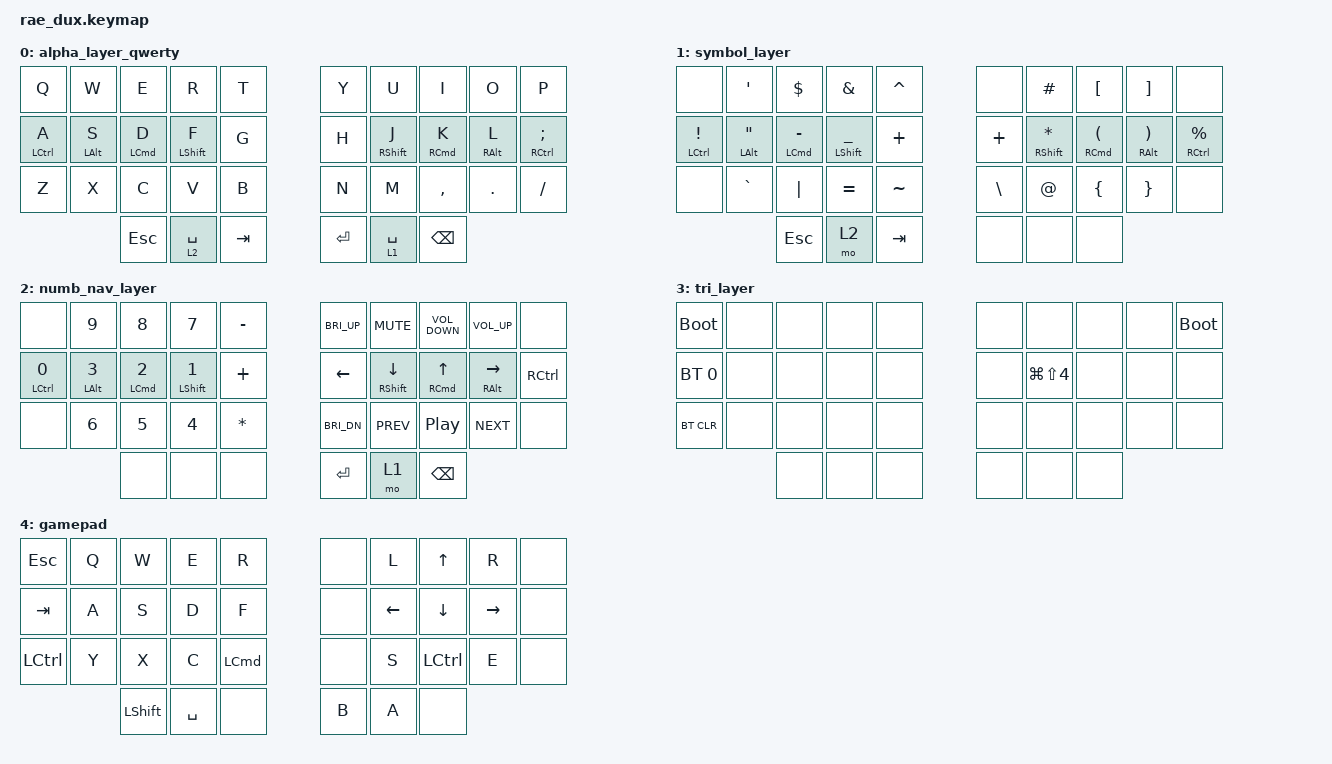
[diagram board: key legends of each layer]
/*
 * Copyright (c) 2021 The ZMK Contributors
 *
 * SPDX-License-Identifier: MIT
 */

#include <behaviors.dtsi>
#include <dt-bindings/zmk/bt.h>
#include <dt-bindings/zmk/keys.h>

&lt { flavor = "hold-preferred"; };

/ {
    conditional_layers {
        compatible = "zmk,conditional-layers";

        Tri {
            if-layers = <2 1>;
            then-layer = <3>;
        };
    };

    behaviors {
        hrm: home_row_mods {
            compatible = "zmk,behavior-hold-tap";
            label = "HOME_ROW_MODS";
            #binding-cells = <2>;
            flavor = "balanced";
            tapping-term-ms = <200>;
            bindings = <&kp>, <&kp>;
        };

        lt_repeat: lt_repeat {
            compatible = "zmk,behavior-hold-tap";
            label = "LT_REPEAT";
            bindings = <&mo>, <&key_repeat>;

            #binding-cells = <2>;
            flavor = "hold-preferred";
            tapping-term-ms = <200>;
        };
    };

    combos {
        compatible = "zmk,combos";

        Gamepad {
            bindings = <&tog 4>;
            key-positions = <8 28>;
        };
    };

    keymap {
        compatible = "zmk,keymap";

        alpha_layer_qwerty {
            bindings = <
&kp Q                &kp W            &kp E                &kp R              &kp T                              &kp Y        &kp U               &kp I                 &kp O             &kp P
&hrm LEFT_CONTROL A  &hrm LEFT_ALT S  &hrm LEFT_COMMAND D  &hrm LEFT_SHIFT F  &kp G                              &kp H        &hrm RIGHT_SHIFT J  &hrm RIGHT_COMMAND K  &hrm RIGHT_ALT L  &hrm RIGHT_CONTROL SEMICOLON
&kp Z                &kp X            &kp C                &kp V              &kp B                              &kp N        &kp M               &kp COMMA             &kp DOT           &kp SLASH
                                                           &kp ESC            &lt 2 SPACE  &kp TAB    &kp ENTER  &lt 1 SPACE  &kp BSPC
            >;
        };

        Symbol {
            bindings = <
&none                          &kp SINGLE_QUOTE             &kp DOLLAR               &kp AMPERSAND               &kp CARET                    &none          &kp POUND               &kp LEFT_BRACKET                     &kp RIGHT_BRACKET                 &none
&hrm LEFT_CONTROL EXCLAMATION  &hrm LEFT_ALT DOUBLE_QUOTES  &hrm LEFT_COMMAND MINUS  &hrm LEFT_SHIFT UNDERSCORE  &kp PLUS                     &kp PLUS       &hrm RIGHT_SHIFT ASTRK  &hrm RIGHT_COMMAND LEFT_PARENTHESIS  &hrm RIGHT_ALT RIGHT_PARENTHESIS  &hrm RIGHT_CONTROL PERCENT
&none                          &kp GRAVE                    &kp PIPE                 &kp EQUAL                   &kp TILDE                    &kp BACKSLASH  &kp AT_SIGN             &kp LEFT_BRACE                       &kp RIGHT_BRACE                   &none
                                                                                     &kp ESC                     &mo 2      &kp TAB    &none  &none          &none
            >;

            label = "symbol_layer";
        };

        Numbers_Navigation {
            bindings = <
&none                 &kp NUMBER_9      &kp NUMBER_8          &kp NUMBER_7        &kp MINUS                      &kp C_BRI_UP  &kp C_MUTE             &kp C_VOLUME_DOWN      &kp C_VOLUME_UP       &none
&hrm LEFT_CONTROL N0  &hrm LEFT_ALT N3  &hrm LEFT_COMMAND N2  &hrm LEFT_SHIFT N1  &kp PLUS                       &kp LEFT      &hrm RIGHT_SHIFT DOWN  &hrm RIGHT_COMMAND UP  &hrm RIGHT_ALT RIGHT  &kp RIGHT_CONTROL
&none                 &kp NUMBER_6      &kp NUMBER_5          &kp NUMBER_4        &kp STAR                       &kp C_BRI_DN  &kp C_PREV             &kp C_PP               &kp C_NEXT            &none
                                                              &none               &none      &none    &kp ENTER  &mo 1         &kp BSPC
            >;

            label = "numb_nav_layer";
        };

        Tri {
            bindings = <
&bootloader   &none  &none  &none  &none                  &none  &none           &none  &none  &bootloader
&bt BT_SEL 0  &none  &none  &none  &none                  &none  &kp LG(LS(N4))  &none  &none  &none
&bt BT_CLR    &none  &none  &none  &none                  &none  &none           &none  &none  &none
                            &none  &none  &none    &none  &none  &none
            >;

            label = "tri_layer";
        };

        gamepad {
            bindings = <
&kp ESC           &kp Q  &kp W  &kp E      &kp R                             &none  &kp L     &kp UP            &kp R      &none
&kp TAB           &kp A  &kp S  &kp D      &kp F                             &none  &kp LEFT  &kp DOWN          &kp RIGHT  &none
&kp LEFT_CONTROL  &kp Y  &kp X  &kp C      &kp LEFT_COMMAND                  &none  &kp S     &kp LEFT_CONTROL  &kp E      &none
                                &kp LSHFT  &kp SPACE         &none    &kp B  &kp A  &none
            >;
        };
    };
};
